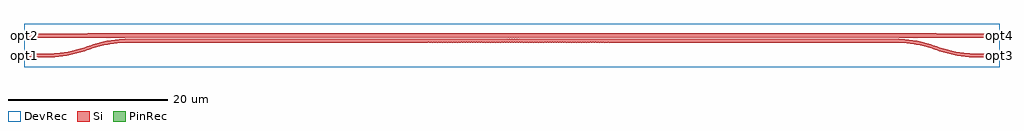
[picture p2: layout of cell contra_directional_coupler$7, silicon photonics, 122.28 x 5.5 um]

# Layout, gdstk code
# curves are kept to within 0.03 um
import gdstk
lib = gdstk.Library(unit=1e-6, precision=1e-09)
def R(c, l, rs):  # rectangles x0, y0, x1, y1
    for r in rs: c.add(gdstk.rectangle(r[:2], r[2:], *l))
def A(c, l, x, y, w, h, nx, ny, dx, dy):  # array of equal rectangles
    R(c, l, [(x+i*dx, y+j*dy, x+i*dx+w, y+j*dy+h) for i in range(nx) for j in range(ny)])
def P(c, l, *ps):  # polygons
    for p in ps: c.add(gdstk.Polygon(p, *l))
Si = (1, 0)
PinRec = (1, 10)
DevRec = (68, 0)

contra_directional_coupl = lib.new_cell('contra_directional_coupler$7')
A(contra_directional_coupl, Si, 0.158, -0.525, 0.317, 0.225, 111, 1, 0.317, 0)
A(contra_directional_coupl, Si, 60.388, -0.525, 0.317, 0.225, 110, 1, 0.317, 0)
A(contra_directional_coupl, Si, 0, -0.3, 0.317, 0.225, 111, 1, 0.317, 0)
A(contra_directional_coupl, Si, 60.23, -0.3, 0.317, 0.225, 110, 1, 0.317, 0)
A(contra_directional_coupl, Si, 0, 0.075, 0.317, 0.275, 110, 1, 0.317, 0)
A(contra_directional_coupl, Si, 60.547, 0.075, 0.317, 0.275, 109, 1, 0.317, 0)
A(contra_directional_coupl, Si, 0.158, 0.35, 0.317, 0.275, 110, 1, 0.317, 0)
A(contra_directional_coupl, Si, 60.705, 0.35, 0.317, 0.275, 109, 1, 0.317, 0)
R(contra_directional_coupl, Si, [(0,-0.525,0.158,-0.3), (95.1,-0.3,95.258,-0.075), (-5.5,0.075,0,0.625), (95.1,0.075,95.258,0.35), (95.258,0.075,100.758,0.625), (0,0.35,0.158,0.625)])
P(contra_directional_coupl, Si, [(47.462,-0.54),(47.391,-0.525),(47.391,-0.3),(47.708,-0.3),(47.708,-0.525),(47.621,-0.51)],
  [(47.55,-0.3),(47.55,-0.075),(47.621,-0.06),(47.78,-0.09),(47.867,-0.075),(47.867,-0.3)],
  [(47.391,0.35),(47.391,0.625),(47.462,0.645),(47.621,0.605),(47.708,0.625),(47.708,0.35)],
  [(47.621,0.055),(47.55,0.075),(47.55,0.35),(47.867,0.35),(47.867,0.075),(47.78,0.095)],
  [(105.944,-2.375),(104.411,-2.298),(102.894,-2.066),(101.652,-1.758),(99.498,-1.056),(98.044,-0.733),(96.565,-0.558),(95.258,-0.525),(95.258,-0.075),(96.595,-0.109),(98.119,-0.29),(99.618,-0.622),(101.779,-1.326),(102.984,-1.625),(104.704,-1.873),(106.258,-1.925),(106.258,-2.375)],
  [(108.758,-2.4),(106.258,-2.375),(106.258,-1.925),(108.758,-1.9)],
  [(100.758,0.075),(100.758,0.625),(108.758,0.6),(108.758,0.1)],
  [(55.07,-0.53),(54.999,-0.525),(54.999,-0.3),(55.316,-0.3),(55.316,-0.525)],
  [(55.158,-0.3),(55.158,-0.075),(55.475,-0.075),(55.475,-0.3)],
  [(54.999,0.35),(54.999,0.625),(55.316,0.625),(55.316,0.35)],
  [(55.237,0.069),(55.158,0.075),(55.158,0.35),(55.475,0.35),(55.475,0.075)],
  [(60.142,-0.526),(60.134,-0.525),(60.071,-0.525),(60.071,-0.3),(60.388,-0.3),(60.388,-0.525),(60.325,-0.525),(60.317,-0.524),(60.301,-0.524),(60.293,-0.525),(60.166,-0.525),(60.158,-0.526)],
  [(59.477,-0.526),(59.469,-0.525),(59.437,-0.525),(59.437,-0.3),(59.754,-0.3),(59.754,-0.525),(59.722,-0.525),(59.714,-0.524),(59.635,-0.524),(59.627,-0.525),(59.564,-0.525),(59.556,-0.526)],
  [(59.596,-0.3),(59.596,-0.075),(59.644,-0.075),(59.651,-0.074),(59.699,-0.074),(59.707,-0.075),(59.802,-0.075),(59.81,-0.076),(59.858,-0.076),(59.865,-0.075),(59.913,-0.075),(59.913,-0.3)],
  [(55.371,-0.529),(55.316,-0.525),(55.316,-0.3),(55.633,-0.3),(55.633,-0.525)],
  [(55.475,-0.3),(55.475,-0.075),(55.792,-0.075),(55.792,-0.3)],
  [(55.696,-0.529),(55.633,-0.525),(55.633,-0.3),(55.95,-0.3),(55.95,-0.525)],
  [(55.792,-0.3),(55.792,-0.075),(56.109,-0.075),(56.109,-0.3)],
  [(59.809,-0.526),(59.802,-0.525),(59.754,-0.525),(59.754,-0.3),(60.071,-0.3),(60.071,-0.525),(60.023,-0.525),(60.016,-0.524),(59.968,-0.524),(59.96,-0.525),(59.865,-0.525),(59.857,-0.526)],
  [(59.913,-0.3),(59.913,-0.075),(59.976,-0.075),(59.984,-0.074),(60,-0.074),(60.008,-0.075),(60.135,-0.075),(60.143,-0.076),(60.159,-0.076),(60.167,-0.075),(60.23,-0.075),(60.23,-0.3)],
  [(55.316,0.35),(55.316,0.625),(55.633,0.625),(55.633,0.35)],
  [(55.538,0.07),(55.475,0.075),(55.475,0.35),(55.792,0.35),(55.792,0.075)],
  [(55.633,0.35),(55.633,0.625),(55.95,0.625),(55.95,0.35)],
  [(55.84,0.071),(55.792,0.075),(55.792,0.35),(56.109,0.35),(56.109,0.075)],
  [(55.95,0.35),(55.95,0.625),(56.267,0.625),(56.267,0.35)],
  [(56.164,0.071),(56.109,0.075),(56.109,0.35),(56.426,0.35),(56.426,0.075)],
  [(56.267,0.35),(56.267,0.625),(56.584,0.625),(56.584,0.35)],
  [(56.505,0.071),(56.426,0.075),(56.426,0.35),(56.743,0.35),(56.743,0.075)],
  [(56.584,0.35),(56.584,0.625),(56.901,0.625),(56.901,0.35)],
  [(56.798,0.072),(56.743,0.075),(56.743,0.35),(57.06,0.35),(57.06,0.075)],
  [(56.901,0.35),(56.901,0.625),(57.218,0.625),(57.218,0.35)],
  [(57.123,0.072),(57.06,0.075),(57.06,0.35),(57.377,0.35),(57.377,0.075)],
  [(57.218,0.35),(57.218,0.625),(57.535,0.625),(57.535,0.35)],
  [(57.417,0.073),(57.377,0.075),(57.377,0.35),(57.694,0.35),(57.694,0.075)],
  [(57.535,0.35),(57.535,0.625),(57.852,0.625),(57.852,0.35)],
  [(57.742,0.073),(57.694,0.075),(57.694,0.35),(58.011,0.35),(58.011,0.075)],
  [(57.852,0.35),(57.852,0.625),(58.169,0.625),(58.169,0.35)],
  [(58.066,0.073),(58.011,0.075),(58.011,0.35),(58.328,0.35),(58.328,0.075)],
  [(58.169,0.35),(58.169,0.625),(58.486,0.625),(58.486,0.35)],
  [(58.399,0.073),(58.328,0.075),(58.328,0.35),(58.645,0.35),(58.645,0.075)],
  [(58.486,0.35),(58.486,0.625),(58.803,0.625),(58.803,0.35)],
  [(58.669,0.074),(58.661,0.075),(58.645,0.075),(58.645,0.35),(58.962,0.35),(58.962,0.075),(58.946,0.075),(58.938,0.076),(58.827,0.076),(58.819,0.075),(58.788,0.075),(58.78,0.074)],
  [(58.803,0.35),(58.803,0.625),(58.819,0.625),(58.827,0.626),(58.938,0.626),(58.946,0.625),(58.977,0.625),(58.985,0.624),(59.096,0.624),(59.104,0.625),(59.12,0.625),(59.12,0.35)],
  [(58.986,0.074),(58.978,0.075),(58.962,0.075),(58.962,0.35),(59.279,0.35),(59.279,0.075),(59.263,0.075),(59.255,0.076),(59.144,0.076),(59.136,0.075),(59.105,0.075),(59.097,0.074)],
  [(59.12,0.35),(59.12,0.625),(59.136,0.625),(59.144,0.626),(59.255,0.626),(59.263,0.625),(59.294,0.625),(59.302,0.624),(59.413,0.624),(59.421,0.625),(59.437,0.625),(59.437,0.35)],
  [(59.311,0.074),(59.303,0.075),(59.279,0.075),(59.279,0.35),(59.596,0.35),(59.596,0.075),(59.572,0.075),(59.564,0.076),(59.469,0.076),(59.461,0.075),(59.414,0.075),(59.406,0.074)],
  [(59.437,0.35),(59.437,0.625),(59.461,0.625),(59.469,0.626),(59.564,0.626),(59.572,0.625),(59.619,0.625),(59.627,0.624),(59.722,0.624),(59.73,0.625),(59.754,0.625),(59.754,0.35)],
  [(59.636,0.074),(59.628,0.075),(59.596,0.075),(59.596,0.35),(59.913,0.35),(59.913,0.075),(59.881,0.075),(59.873,0.076),(59.794,0.076),(59.786,0.075),(59.723,0.075),(59.715,0.074)],
  [(59.754,0.35),(59.754,0.625),(59.786,0.625),(59.794,0.626),(59.873,0.626),(59.881,0.625),(59.944,0.625),(59.952,0.624),(60.031,0.624),(60.039,0.625),(60.071,0.625),(60.071,0.35)],
  [(59.961,0.074),(59.953,0.075),(59.913,0.075),(59.913,0.35),(60.23,0.35),(60.23,0.075),(60.19,0.075),(60.182,0.076),(60.119,0.076),(60.111,0.075),(60.032,0.075),(60.024,0.074)],
  [(60.071,0.35),(60.071,0.625),(60.111,0.625),(60.119,0.626),(60.182,0.626),(60.19,0.625),(60.269,0.625),(60.277,0.624),(60.34,0.624),(60.348,0.625),(60.388,0.625),(60.388,0.35)],
  [(60.285,0.074),(60.278,0.075),(60.23,0.075),(60.23,0.35),(60.547,0.35),(60.547,0.075),(60.499,0.075),(60.492,0.076),(60.444,0.076),(60.436,0.075),(60.341,0.075),(60.333,0.074)],
  [(60.388,0.35),(60.388,0.625),(60.436,0.625),(60.443,0.626),(60.491,0.626),(60.499,0.625),(60.594,0.625),(60.602,0.624),(60.65,0.624),(60.657,0.625),(60.705,0.625),(60.705,0.35)],
  [(55.998,-0.528),(55.95,-0.525),(55.95,-0.3),(56.267,-0.3),(56.267,-0.525)],
  [(56.109,-0.3),(56.109,-0.075),(56.426,-0.075),(56.426,-0.3)],
  [(56.322,-0.528),(56.267,-0.525),(56.267,-0.3),(56.584,-0.3),(56.584,-0.525)],
  [(56.426,-0.3),(56.426,-0.075),(56.743,-0.075),(56.743,-0.3)],
  [(56.655,-0.528),(56.584,-0.525),(56.584,-0.3),(56.901,-0.3),(56.901,-0.525)],
  [(56.743,-0.3),(56.743,-0.075),(57.06,-0.075),(57.06,-0.3)],
  [(56.941,-0.527),(56.901,-0.525),(56.901,-0.3),(57.218,-0.3),(57.218,-0.525)],
  [(57.06,-0.3),(57.06,-0.075),(57.377,-0.075),(57.377,-0.3)],
  [(57.266,-0.527),(57.218,-0.525),(57.218,-0.3),(57.535,-0.3),(57.535,-0.525)],
  [(57.377,-0.3),(57.377,-0.075),(57.694,-0.075),(57.694,-0.3)],
  [(57.59,-0.527),(57.535,-0.525),(57.535,-0.3),(57.852,-0.3),(57.852,-0.525)],
  [(57.694,-0.3),(57.694,-0.075),(58.011,-0.075),(58.011,-0.3)],
  [(57.923,-0.527),(57.852,-0.525),(57.852,-0.3),(58.169,-0.3),(58.169,-0.525)],
  [(58.011,-0.3),(58.011,-0.075),(58.027,-0.075),(58.035,-0.074),(58.146,-0.074),(58.154,-0.075),(58.185,-0.075),(58.193,-0.076),(58.304,-0.076),(58.312,-0.075),(58.328,-0.075),(58.328,-0.3)],
  [(58.193,-0.526),(58.185,-0.525),(58.169,-0.525),(58.169,-0.3),(58.486,-0.3),(58.486,-0.525),(58.47,-0.525),(58.462,-0.524),(58.351,-0.524),(58.343,-0.525),(58.312,-0.525),(58.304,-0.526)],
  [(58.328,-0.3),(58.328,-0.075),(58.344,-0.075),(58.352,-0.074),(58.463,-0.074),(58.471,-0.075),(58.502,-0.075),(58.51,-0.076),(58.621,-0.076),(58.629,-0.075),(58.645,-0.075),(58.645,-0.3)],
  [(58.51,-0.526),(58.502,-0.525),(58.486,-0.525),(58.486,-0.3),(58.803,-0.3),(58.803,-0.525),(58.787,-0.525),(58.779,-0.524),(58.668,-0.524),(58.66,-0.525),(58.629,-0.525),(58.621,-0.526)],
  [(58.645,-0.3),(58.645,-0.075),(58.669,-0.075),(58.677,-0.074),(58.772,-0.074),(58.78,-0.075),(58.827,-0.075),(58.835,-0.076),(58.93,-0.076),(58.938,-0.075),(58.962,-0.075),(58.962,-0.3)],
  [(58.835,-0.526),(58.827,-0.525),(58.803,-0.525),(58.803,-0.3),(59.12,-0.3),(59.12,-0.525),(59.096,-0.525),(59.088,-0.524),(58.993,-0.524),(58.985,-0.525),(58.938,-0.525),(58.93,-0.526)],
  [(58.962,-0.3),(58.962,-0.075),(58.994,-0.075),(59.002,-0.074),(59.081,-0.074),(59.089,-0.075),(59.152,-0.075),(59.16,-0.076),(59.239,-0.076),(59.247,-0.075),(59.279,-0.075),(59.279,-0.3)],
  [(59.16,-0.526),(59.152,-0.525),(59.12,-0.525),(59.12,-0.3),(59.437,-0.3),(59.437,-0.525),(59.405,-0.525),(59.397,-0.524),(59.318,-0.524),(59.31,-0.525),(59.247,-0.525),(59.239,-0.526)],
  [(59.279,-0.3),(59.279,-0.075),(59.311,-0.075),(59.319,-0.074),(59.398,-0.074),(59.406,-0.075),(59.469,-0.075),(59.477,-0.076),(59.556,-0.076),(59.564,-0.075),(59.596,-0.075),(59.596,-0.3)],
  [(47.779,-0.54),(47.708,-0.525),(47.708,-0.3),(48.025,-0.3),(48.025,-0.525),(47.938,-0.51)],
  [(47.867,-0.3),(47.867,-0.075),(47.938,-0.06),(48.097,-0.09),(48.184,-0.075),(48.184,-0.3)],
  [(47.708,0.35),(47.708,0.625),(47.779,0.645),(47.938,0.605),(48.025,0.625),(48.025,0.35)],
  [(47.938,0.055),(47.867,0.075),(47.867,0.35),(48.184,0.35),(48.184,0.075),(48.097,0.095)],
  [(48.025,0.35),(48.025,0.625),(48.096,0.645),(48.255,0.605),(48.342,0.625),(48.342,0.35)],
  [(48.255,0.055),(48.184,0.075),(48.184,0.35),(48.501,0.35),(48.501,0.075),(48.414,0.095)],
  [(48.342,0.35),(48.342,0.625),(48.413,0.645),(48.572,0.605),(48.659,0.625),(48.659,0.35)],
  [(48.58,0.055),(48.501,0.075),(48.501,0.35),(48.818,0.35),(48.818,0.075),(48.723,0.094)],
  [(48.659,0.35),(48.659,0.625),(48.738,0.645),(48.881,0.606),(48.976,0.625),(48.976,0.35)],
  [(48.889,0.056),(48.818,0.075),(48.818,0.35),(49.135,0.35),(49.135,0.075),(49.048,0.094)],
  [(48.976,0.35),(48.976,0.625),(49.047,0.644),(49.206,0.606),(49.293,0.625),(49.293,0.35)],
  [(49.206,0.056),(49.135,0.075),(49.135,0.35),(49.452,0.35),(49.452,0.075),(49.365,0.094)],
  [(49.293,0.35),(49.293,0.625),(49.364,0.644),(49.523,0.606),(49.61,0.625),(49.61,0.35)],
  [(49.515,0.057),(49.452,0.075),(49.452,0.35),(49.769,0.35),(49.769,0.075),(49.674,0.093)],
  [(49.61,0.35),(49.61,0.625),(49.673,0.643),(49.832,0.607),(49.927,0.625),(49.927,0.35)],
  [(49.84,0.057),(49.769,0.075),(49.769,0.35),(50.086,0.35),(50.086,0.075),(49.999,0.093)],
  [(49.927,0.35),(49.927,0.625),(49.998,0.643),(50.157,0.607),(50.244,0.625),(50.244,0.35)],
  [(50.157,0.058),(50.086,0.075),(50.086,0.35),(50.403,0.35),(50.403,0.075),(50.316,0.092)],
  [(50.244,0.35),(50.244,0.625),(50.315,0.642),(50.474,0.608),(50.561,0.625),(50.561,0.35)],
  [(50.482,0.058),(50.403,0.075),(50.403,0.35),(50.72,0.35),(50.72,0.075),(50.625,0.091)],
  [(50.561,0.35),(50.561,0.625),(50.64,0.642),(50.783,0.609),(50.878,0.625),(50.878,0.35)],
  [(50.791,0.059),(50.72,0.075),(50.72,0.35),(51.037,0.35),(51.037,0.075),(50.95,0.091)],
  [(50.878,0.35),(50.878,0.625),(50.949,0.641),(51.108,0.609),(51.195,0.625),(51.195,0.35)],
  [(51.1,0.06),(51.037,0.075),(51.037,0.35),(51.354,0.35),(51.354,0.075),(51.259,0.09)],
  [(51.195,0.35),(51.195,0.625),(51.258,0.64),(51.417,0.61),(51.512,0.625),(51.512,0.35)],
  [(51.433,0.06),(51.354,0.075),(51.354,0.35),(51.671,0.35),(51.671,0.075),(51.576,0.089)],
  [(51.512,0.35),(51.512,0.625),(51.591,0.64),(51.734,0.611),(51.829,0.625),(51.829,0.35)],
  [(51.742,0.061),(51.671,0.075),(51.671,0.35),(51.988,0.35),(51.988,0.075),(51.901,0.089)],
  [(51.829,0.35),(51.829,0.625),(52.146,0.625),(52.146,0.35)],
  [(52.059,0.062),(51.988,0.075),(51.988,0.35),(52.305,0.35),(52.305,0.075),(52.218,0.088)],
  [(52.146,0.35),(52.146,0.625),(52.463,0.625),(52.463,0.35)],
  [(52.368,0.063),(52.305,0.075),(52.305,0.35),(52.622,0.35),(52.622,0.075),(52.527,0.087)],
  [(52.463,0.35),(52.463,0.625),(52.78,0.625),(52.78,0.35)],
  [(52.685,0.064),(52.622,0.075),(52.622,0.35),(52.939,0.35),(52.939,0.075),(52.844,0.086)],
  [(52.78,0.35),(52.78,0.625),(53.097,0.625),(53.097,0.35)],
  [(53.018,0.064),(52.939,0.075),(52.939,0.35),(53.256,0.35),(53.256,0.075)],
  [(53.097,0.35),(53.097,0.625),(53.414,0.625),(53.414,0.35)],
  [(53.327,0.065),(53.256,0.075),(53.256,0.35),(53.573,0.35),(53.573,0.075)],
  [(53.414,0.35),(53.414,0.625),(53.731,0.625),(53.731,0.35)],
  [(53.636,0.066),(53.573,0.075),(53.573,0.35),(53.89,0.35),(53.89,0.075)],
  [(53.731,0.35),(53.731,0.625),(54.048,0.625),(54.048,0.35)],
  [(53.953,0.067),(53.89,0.075),(53.89,0.35),(54.207,0.35),(54.207,0.075)],
  [(54.048,0.35),(54.048,0.625),(54.365,0.625),(54.365,0.35)],
  [(54.286,0.067),(54.207,0.075),(54.207,0.35),(54.524,0.35),(54.524,0.075)],
  [(54.365,0.35),(54.365,0.625),(54.682,0.625),(54.682,0.35)],
  [(54.595,0.068),(54.524,0.075),(54.524,0.35),(54.841,0.35),(54.841,0.075)],
  [(54.682,0.35),(54.682,0.625),(54.999,0.625),(54.999,0.35)],
  [(54.896,0.069),(54.841,0.075),(54.841,0.35),(55.158,0.35),(55.158,0.075)],
  [(54.207,-0.3),(54.207,-0.075),(54.524,-0.075),(54.524,-0.3)],
  [(54.436,-0.531),(54.365,-0.525),(54.365,-0.3),(54.682,-0.3),(54.682,-0.525)],
  [(54.524,-0.3),(54.524,-0.075),(54.841,-0.075),(54.841,-0.3)],
  [(54.737,-0.53),(54.682,-0.525),(54.682,-0.3),(54.999,-0.3),(54.999,-0.525)],
  [(54.841,-0.3),(54.841,-0.075),(55.158,-0.075),(55.158,-0.3)],
  [(53.256,-0.3),(53.256,-0.075),(53.304,-0.069),(53.311,-0.068),(53.359,-0.068),(53.407,-0.074),(53.414,-0.075),(53.47,-0.082),(53.518,-0.082),(53.525,-0.081),(53.573,-0.075),(53.573,-0.3)],
  [(53.469,-0.532),(53.462,-0.531),(53.414,-0.525),(53.414,-0.3),(53.731,-0.3),(53.731,-0.525),(53.683,-0.519),(53.676,-0.518),(53.628,-0.518),(53.572,-0.525),(53.565,-0.526),(53.517,-0.532)],
  [(53.573,-0.3),(53.573,-0.075),(53.89,-0.075),(53.89,-0.3)],
  [(53.802,-0.532),(53.731,-0.525),(53.731,-0.3),(54.048,-0.3),(54.048,-0.525)],
  [(53.89,-0.3),(53.89,-0.075),(54.207,-0.075),(54.207,-0.3)],
  [(54.111,-0.531),(54.048,-0.525),(54.048,-0.3),(54.365,-0.3),(54.365,-0.525)],
  [(48.096,-0.54),(48.025,-0.525),(48.025,-0.3),(48.342,-0.3),(48.342,-0.525),(48.255,-0.51)],
  [(48.184,-0.3),(48.184,-0.075),(48.255,-0.06),(48.414,-0.09),(48.501,-0.075),(48.501,-0.3)],
  [(48.413,-0.54),(48.342,-0.525),(48.342,-0.3),(48.659,-0.3),(48.659,-0.525),(48.572,-0.51)],
  [(48.501,-0.3),(48.501,-0.075),(48.572,-0.06),(48.731,-0.09),(48.818,-0.075),(48.818,-0.3)],
  [(48.73,-0.54),(48.659,-0.525),(48.659,-0.3),(48.976,-0.3),(48.976,-0.525),(48.889,-0.51)],
  [(48.818,-0.3),(48.818,-0.075),(48.881,-0.061),(49.04,-0.089),(49.135,-0.075),(49.135,-0.3)],
  [(49.039,-0.539),(48.976,-0.525),(48.976,-0.3),(49.293,-0.3),(49.293,-0.525),(49.198,-0.511)],
  [(49.135,-0.3),(49.135,-0.075),(49.206,-0.061),(49.365,-0.089),(49.452,-0.075),(49.452,-0.3)],
  [(49.364,-0.539),(49.293,-0.525),(49.293,-0.3),(49.61,-0.3),(49.61,-0.525),(49.523,-0.511)],
  [(49.452,-0.3),(49.452,-0.075),(49.523,-0.061),(49.682,-0.089),(49.769,-0.075),(49.769,-0.3)],
  [(49.681,-0.539),(49.61,-0.525),(49.61,-0.3),(49.927,-0.3),(49.927,-0.525),(49.84,-0.511)],
  [(49.769,-0.3),(49.769,-0.075),(50.086,-0.075),(50.086,-0.3)],
  [(49.99,-0.538),(49.927,-0.525),(49.927,-0.3),(50.244,-0.3),(50.244,-0.525),(50.149,-0.512)],
  [(50.086,-0.3),(50.086,-0.075),(50.403,-0.075),(50.403,-0.3)],
  [(50.315,-0.538),(50.244,-0.525),(50.244,-0.3),(50.561,-0.3),(50.561,-0.525),(50.474,-0.512)],
  [(50.403,-0.3),(50.403,-0.075),(50.72,-0.075),(50.72,-0.3)],
  [(50.64,-0.538),(50.561,-0.525),(50.561,-0.3),(50.878,-0.3),(50.878,-0.525),(50.799,-0.512)],
  [(50.72,-0.3),(50.72,-0.075),(51.037,-0.075),(51.037,-0.3)],
  [(50.949,-0.537),(50.878,-0.525),(50.878,-0.3),(51.195,-0.3),(51.195,-0.525),(51.108,-0.513)],
  [(51.037,-0.3),(51.037,-0.075),(51.354,-0.075),(51.354,-0.3)],
  [(51.258,-0.536),(51.195,-0.525),(51.195,-0.3),(51.512,-0.3),(51.512,-0.525),(51.417,-0.514)],
  [(51.354,-0.3),(51.354,-0.075),(51.671,-0.075),(51.671,-0.3)],
  [(51.583,-0.536),(51.512,-0.525),(51.512,-0.3),(51.829,-0.3),(51.829,-0.525),(51.742,-0.514)],
  [(51.671,-0.3),(51.671,-0.075),(51.988,-0.075),(51.988,-0.3)],
  [(51.892,-0.535),(51.829,-0.525),(51.829,-0.3),(52.146,-0.3),(52.146,-0.525),(52.051,-0.515)],
  [(51.988,-0.3),(51.988,-0.075),(52.305,-0.075),(52.305,-0.3)],
  [(52.217,-0.535),(52.146,-0.525),(52.146,-0.3),(52.463,-0.3),(52.463,-0.525),(52.376,-0.515)],
  [(52.305,-0.3),(52.305,-0.075),(52.622,-0.075),(52.622,-0.3)],
  [(52.526,-0.534),(52.463,-0.525),(52.463,-0.3),(52.78,-0.3),(52.78,-0.525)],
  [(52.622,-0.3),(52.622,-0.075),(52.939,-0.075),(52.939,-0.3)],
  [(52.835,-0.533),(52.78,-0.525),(52.78,-0.3),(53.097,-0.3),(53.097,-0.525)],
  [(52.939,-0.3),(52.939,-0.075),(53.256,-0.075),(53.256,-0.3)],
  [(53.16,-0.533),(53.097,-0.525),(53.097,-0.3),(53.414,-0.3),(53.414,-0.525)],
  [(39.783,0.35),(39.783,0.625),(40.1,0.625),(40.1,0.35)],
  [(40.021,0.069),(39.942,0.075),(39.942,0.35),(40.259,0.35),(40.259,0.075)],
  [(39.846,-0.529),(39.783,-0.525),(39.783,-0.3),(40.1,-0.3),(40.1,-0.525)],
  [(39.942,-0.3),(39.942,-0.075),(40.259,-0.075),(40.259,-0.3)],
  [(40.417,0.35),(40.417,0.625),(40.734,0.625),(40.734,0.35)],
  [(40.647,0.068),(40.576,0.075),(40.576,0.35),(40.893,0.35),(40.893,0.075)],
  [(40.734,0.35),(40.734,0.625),(41.051,0.625),(41.051,0.35)],
  [(40.972,0.067),(40.893,0.075),(40.893,0.35),(41.21,0.35),(41.21,0.075)],
  [(41.051,0.35),(41.051,0.625),(41.368,0.625),(41.368,0.35)],
  [(41.273,0.067),(41.21,0.075),(41.21,0.35),(41.527,0.35),(41.527,0.075)],
  [(41.368,0.35),(41.368,0.625),(41.685,0.625),(41.685,0.35)],
  [(41.59,0.066),(41.527,0.075),(41.527,0.35),(41.844,0.35),(41.844,0.075)],
  [(41.685,0.35),(41.685,0.625),(42.002,0.625),(42.002,0.35)],
  [(41.915,0.065),(41.844,0.075),(41.844,0.35),(42.161,0.35),(42.161,0.075)],
  [(42.002,0.35),(42.002,0.625),(42.319,0.625),(42.319,0.35)],
  [(42.24,0.064),(42.161,0.075),(42.161,0.35),(42.478,0.35),(42.478,0.075)],
  [(42.319,0.35),(42.319,0.625),(42.636,0.625),(42.636,0.35)],
  [(42.541,0.064),(42.478,0.075),(42.478,0.35),(42.795,0.35),(42.795,0.075),(42.7,0.086)],
  [(42.636,0.35),(42.636,0.625),(42.953,0.625),(42.953,0.35)],
  [(42.858,0.063),(42.795,0.075),(42.795,0.35),(43.112,0.35),(43.112,0.075),(43.017,0.087)],
  [(42.953,0.35),(42.953,0.625),(43.27,0.625),(43.27,0.35)],
  [(43.183,0.062),(43.112,0.075),(43.112,0.35),(43.429,0.35),(43.429,0.075),(43.342,0.088)],
  [(43.27,0.35),(43.27,0.625),(43.587,0.625),(43.587,0.35)],
  [(43.5,0.061),(43.429,0.075),(43.429,0.35),(43.746,0.35),(43.746,0.075),(43.659,0.089)],
  [(43.587,0.35),(43.587,0.625),(43.904,0.625),(43.904,0.35)],
  [(43.825,0.06),(43.746,0.075),(43.746,0.35),(44.063,0.35),(44.063,0.075),(43.968,0.089)],
  [(43.904,0.35),(43.904,0.625),(43.983,0.64),(44.126,0.611),(44.221,0.625),(44.221,0.35)],
  [(44.126,0.06),(44.063,0.075),(44.063,0.35),(44.38,0.35),(44.38,0.075),(44.285,0.09)],
  [(44.221,0.35),(44.221,0.625),(44.284,0.64),(44.443,0.61),(44.538,0.625),(44.538,0.35)],
  [(44.451,0.059),(44.38,0.075),(44.38,0.35),(44.697,0.35),(44.697,0.075),(44.61,0.091)],
  [(44.538,0.35),(44.538,0.625),(44.609,0.641),(44.768,0.609),(44.855,0.625),(44.855,0.35)],
  [(44.776,0.058),(44.697,0.075),(44.697,0.35),(45.014,0.35),(45.014,0.075),(44.919,0.091)],
  [(44.855,0.35),(44.855,0.625),(44.934,0.642),(45.077,0.609),(45.172,0.625),(45.172,0.35)],
  [(45.085,0.058),(45.014,0.075),(45.014,0.35),(45.331,0.35),(45.331,0.075),(45.244,0.092)],
  [(45.172,0.35),(45.172,0.625),(45.243,0.642),(45.402,0.608),(45.489,0.625),(45.489,0.35)],
  [(45.402,0.057),(45.331,0.075),(45.331,0.35),(45.648,0.35),(45.648,0.075),(45.561,0.093)],
  [(45.489,0.35),(45.489,0.625),(45.56,0.643),(45.719,0.607),(45.806,0.625),(45.806,0.35)],
  [(45.711,0.057),(45.648,0.075),(45.648,0.35),(45.965,0.35),(45.965,0.075),(45.87,0.093)],
  [(45.806,0.35),(45.806,0.625),(45.869,0.643),(46.028,0.607),(46.123,0.625),(46.123,0.35)],
  [(46.036,0.056),(45.965,0.075),(45.965,0.35),(46.282,0.35),(46.282,0.075),(46.195,0.094)],
  [(46.123,0.35),(46.123,0.625),(46.194,0.644),(46.353,0.606),(46.44,0.625),(46.44,0.35)],
  [(46.353,0.056),(46.282,0.075),(46.282,0.35),(46.599,0.35),(46.599,0.075),(46.512,0.094)],
  [(46.44,0.35),(46.44,0.625),(46.511,0.644),(46.67,0.606),(46.757,0.625),(46.757,0.35)],
  [(46.678,0.055),(46.599,0.075),(46.599,0.35),(46.916,0.35),(46.916,0.075),(46.821,0.094)],
  [(46.757,0.35),(46.757,0.625),(46.836,0.645),(46.979,0.606),(47.074,0.625),(47.074,0.35)],
  [(46.987,0.055),(46.916,0.075),(46.916,0.35),(47.233,0.35),(47.233,0.075),(47.146,0.095)],
  [(47.074,0.35),(47.074,0.625),(47.145,0.645),(47.304,0.605),(47.391,0.625),(47.391,0.35)],
  [(47.304,0.055),(47.233,0.075),(47.233,0.35),(47.55,0.35),(47.55,0.075),(47.463,0.095)],
  [(40.1,0.35),(40.1,0.625),(40.417,0.625),(40.417,0.35)],
  [(40.314,0.069),(40.259,0.075),(40.259,0.35),(40.576,0.35),(40.576,0.075)],
  [(40.155,-0.529),(40.1,-0.525),(40.1,-0.3),(40.417,-0.3),(40.417,-0.525)],
  [(40.259,-0.3),(40.259,-0.075),(40.576,-0.075),(40.576,-0.3)],
  [(40.488,-0.53),(40.417,-0.525),(40.417,-0.3),(40.734,-0.3),(40.734,-0.525)],
  [(40.576,-0.3),(40.576,-0.075),(40.893,-0.075),(40.893,-0.3)],
  [(40.789,-0.53),(40.734,-0.525),(40.734,-0.3),(41.051,-0.3),(41.051,-0.525)],
  [(40.893,-0.3),(40.893,-0.075),(41.21,-0.075),(41.21,-0.3)],
  [(41.122,-0.531),(41.051,-0.525),(41.051,-0.3),(41.368,-0.3),(41.368,-0.525)],
  [(41.21,-0.3),(41.21,-0.075),(41.527,-0.075),(41.527,-0.3)],
  [(41.431,-0.531),(41.368,-0.525),(41.368,-0.3),(41.685,-0.3),(41.685,-0.525)],
  [(41.527,-0.3),(41.527,-0.075),(41.844,-0.075),(41.844,-0.3)],
  [(41.756,-0.532),(41.685,-0.525),(41.685,-0.3),(42.002,-0.3),(42.002,-0.525)],
  [(41.844,-0.3),(41.844,-0.075),(41.892,-0.069),(41.899,-0.068),(41.947,-0.068),(41.995,-0.074),(42.002,-0.075),(42.058,-0.082),(42.106,-0.082),(42.113,-0.081),(42.161,-0.075),(42.161,-0.3)],
  [(42.057,-0.532),(42.05,-0.531),(42.002,-0.525),(42.002,-0.3),(42.319,-0.3),(42.319,-0.525),(42.271,-0.519),(42.264,-0.518),(42.216,-0.518),(42.16,-0.525),(42.153,-0.526),(42.105,-0.532)],
  [(42.161,-0.3),(42.161,-0.075),(42.478,-0.075),(42.478,-0.3)],
  [(42.382,-0.533),(42.319,-0.525),(42.319,-0.3),(42.636,-0.3),(42.636,-0.525)],
  [(42.478,-0.3),(42.478,-0.075),(42.795,-0.075),(42.795,-0.3)],
  [(42.691,-0.533),(42.636,-0.525),(42.636,-0.3),(42.953,-0.3),(42.953,-0.525)],
  [(42.795,-0.3),(42.795,-0.075),(43.112,-0.075),(43.112,-0.3)],
  [(43.016,-0.534),(42.953,-0.525),(42.953,-0.3),(43.27,-0.3),(43.27,-0.525)],
  [(43.112,-0.3),(43.112,-0.075),(43.429,-0.075),(43.429,-0.3)],
  [(43.341,-0.535),(43.27,-0.525),(43.27,-0.3),(43.587,-0.3),(43.587,-0.525),(43.5,-0.515)],
  [(43.429,-0.3),(43.429,-0.075),(43.746,-0.075),(43.746,-0.3)],
  [(43.65,-0.535),(43.587,-0.525),(43.587,-0.3),(43.904,-0.3),(43.904,-0.525),(43.809,-0.515)],
  [(43.746,-0.3),(43.746,-0.075),(44.063,-0.075),(44.063,-0.3)],
  [(43.975,-0.536),(43.904,-0.525),(43.904,-0.3),(44.221,-0.3),(44.221,-0.525),(44.134,-0.514)],
  [(44.063,-0.3),(44.063,-0.075),(44.38,-0.075),(44.38,-0.3)],
  [(44.284,-0.536),(44.221,-0.525),(44.221,-0.3),(44.538,-0.3),(44.538,-0.525),(44.443,-0.514)],
  [(44.38,-0.3),(44.38,-0.075),(44.697,-0.075),(44.697,-0.3)],
  [(44.609,-0.537),(44.538,-0.525),(44.538,-0.3),(44.855,-0.3),(44.855,-0.525),(44.768,-0.513)],
  [(44.697,-0.3),(44.697,-0.075),(45.014,-0.075),(45.014,-0.3)],
  [(44.934,-0.538),(44.855,-0.525),(44.855,-0.3),(45.172,-0.3),(45.172,-0.525),(45.093,-0.512)],
  [(45.014,-0.3),(45.014,-0.075),(45.331,-0.075),(45.331,-0.3)],
  [(45.243,-0.538),(45.172,-0.525),(45.172,-0.3),(45.489,-0.3),(45.489,-0.525),(45.402,-0.512)],
  [(45.331,-0.3),(45.331,-0.075),(45.648,-0.075),(45.648,-0.3)],
  [(45.552,-0.538),(45.489,-0.525),(45.489,-0.3),(45.806,-0.3),(45.806,-0.525),(45.711,-0.512)],
  [(45.648,-0.3),(45.648,-0.075),(45.719,-0.061),(45.878,-0.089),(45.965,-0.075),(45.965,-0.3)],
  [(45.877,-0.539),(45.806,-0.525),(45.806,-0.3),(46.123,-0.3),(46.123,-0.525),(46.036,-0.511)],
  [(45.965,-0.3),(45.965,-0.075),(46.036,-0.061),(46.195,-0.089),(46.282,-0.075),(46.282,-0.3)],
  [(46.194,-0.539),(46.123,-0.525),(46.123,-0.3),(46.44,-0.3),(46.44,-0.525),(46.353,-0.511)],
  [(46.282,-0.3),(46.282,-0.075),(46.345,-0.061),(46.504,-0.089),(46.599,-0.075),(46.599,-0.3)],
  [(46.503,-0.539),(46.44,-0.525),(46.44,-0.3),(46.757,-0.3),(46.757,-0.525),(46.662,-0.511)],
  [(46.599,-0.3),(46.599,-0.075),(46.67,-0.06),(46.829,-0.09),(46.916,-0.075),(46.916,-0.3)],
  [(46.828,-0.54),(46.757,-0.525),(46.757,-0.3),(47.074,-0.3),(47.074,-0.525),(46.987,-0.51)],
  [(46.916,-0.3),(46.916,-0.075),(46.987,-0.06),(47.146,-0.09),(47.233,-0.075),(47.233,-0.3)],
  [(47.145,-0.54),(47.074,-0.525),(47.074,-0.3),(47.391,-0.3),(47.391,-0.525),(47.304,-0.51)],
  [(47.233,-0.3),(47.233,-0.075),(47.304,-0.06),(47.463,-0.09),(47.55,-0.075),(47.55,-0.3)],
  [(35.187,-0.3),(35.187,-0.075),(35.25,-0.075),(35.258,-0.074),(35.274,-0.074),(35.282,-0.075),(35.409,-0.075),(35.417,-0.076),(35.433,-0.076),(35.441,-0.075),(35.504,-0.075),(35.504,-0.3)],
  [(35.416,-0.526),(35.408,-0.525),(35.345,-0.525),(35.345,-0.3),(35.662,-0.3),(35.662,-0.525),(35.599,-0.525),(35.591,-0.524),(35.575,-0.524),(35.567,-0.525),(35.44,-0.525),(35.432,-0.526)],
  [(35.504,-0.3),(35.504,-0.075),(35.552,-0.075),(35.559,-0.074),(35.607,-0.074),(35.615,-0.075),(35.71,-0.075),(35.718,-0.076),(35.766,-0.076),(35.773,-0.075),(35.821,-0.075),(35.821,-0.3)],
  [(35.717,-0.526),(35.71,-0.525),(35.662,-0.525),(35.662,-0.3),(35.979,-0.3),(35.979,-0.525),(35.931,-0.525),(35.924,-0.524),(35.876,-0.524),(35.868,-0.525),(35.773,-0.525),(35.765,-0.526)],
  [(35.821,-0.3),(35.821,-0.075),(35.853,-0.075),(35.861,-0.074),(35.94,-0.074),(35.948,-0.075),(36.011,-0.075),(36.019,-0.076),(36.098,-0.076),(36.106,-0.075),(36.138,-0.075),(36.138,-0.3)],
  [(36.019,-0.526),(36.011,-0.525),(35.979,-0.525),(35.979,-0.3),(36.296,-0.3),(36.296,-0.525),(36.264,-0.525),(36.256,-0.524),(36.177,-0.524),(36.169,-0.525),(36.106,-0.525),(36.098,-0.526)],
  [(36.138,-0.3),(36.138,-0.075),(36.17,-0.075),(36.178,-0.074),(36.257,-0.074),(36.265,-0.075),(36.328,-0.075),(36.336,-0.076),(36.415,-0.076),(36.423,-0.075),(36.455,-0.075),(36.455,-0.3)],
  [(36.336,-0.526),(36.328,-0.525),(36.296,-0.525),(36.296,-0.3),(36.613,-0.3),(36.613,-0.525),(36.581,-0.525),(36.573,-0.524),(36.494,-0.524),(36.486,-0.525),(36.423,-0.525),(36.415,-0.526)],
  [(36.455,-0.3),(36.455,-0.075),(36.479,-0.075),(36.487,-0.074),(36.582,-0.074),(36.59,-0.075),(36.637,-0.075),(36.645,-0.076),(36.74,-0.076),(36.748,-0.075),(36.772,-0.075),(36.772,-0.3)],
  [(36.645,-0.526),(36.637,-0.525),(36.613,-0.525),(36.613,-0.3),(36.93,-0.3),(36.93,-0.525),(36.906,-0.525),(36.898,-0.524),(36.803,-0.524),(36.795,-0.525),(36.748,-0.525),(36.74,-0.526)],
  [(36.772,-0.3),(36.772,-0.075),(36.788,-0.075),(36.796,-0.074),(36.907,-0.074),(36.915,-0.075),(36.946,-0.075),(36.954,-0.076),(37.065,-0.076),(37.073,-0.075),(37.089,-0.075),(37.089,-0.3)],
  [(36.954,-0.526),(36.946,-0.525),(36.93,-0.525),(36.93,-0.3),(37.247,-0.3),(37.247,-0.525),(37.231,-0.525),(37.223,-0.524),(37.112,-0.524),(37.104,-0.525),(37.073,-0.525),(37.065,-0.526)],
  [(37.089,-0.3),(37.089,-0.075),(37.105,-0.075),(37.113,-0.074),(37.224,-0.074),(37.232,-0.075),(37.263,-0.075),(37.271,-0.076),(37.382,-0.076),(37.39,-0.075),(37.406,-0.075),(37.406,-0.3)],
  [(37.271,-0.526),(37.263,-0.525),(37.247,-0.525),(37.247,-0.3),(37.564,-0.3),(37.564,-0.525),(37.548,-0.525),(37.54,-0.524),(37.429,-0.524),(37.421,-0.525),(37.39,-0.525),(37.382,-0.526)],
  [(37.406,-0.3),(37.406,-0.075),(37.723,-0.075),(37.723,-0.3)],
  [(37.635,-0.527),(37.564,-0.525),(37.564,-0.3),(37.881,-0.3),(37.881,-0.525)],
  [(37.723,-0.3),(37.723,-0.075),(38.04,-0.075),(38.04,-0.3)],
  [(37.936,-0.527),(37.881,-0.525),(37.881,-0.3),(38.198,-0.3),(38.198,-0.525)],
  [(38.04,-0.3),(38.04,-0.075),(38.357,-0.075),(38.357,-0.3)],
  [(38.246,-0.527),(38.198,-0.525),(38.198,-0.3),(38.515,-0.3),(38.515,-0.525)],
  [(38.357,-0.3),(38.357,-0.075),(38.674,-0.075),(38.674,-0.3)],
  [(38.555,-0.527),(38.515,-0.525),(38.515,-0.3),(38.832,-0.3),(38.832,-0.525)],
  [(38.674,-0.3),(38.674,-0.075),(38.991,-0.075),(38.991,-0.3)],
  [(38.903,-0.528),(38.832,-0.525),(38.832,-0.3),(39.149,-0.3),(39.149,-0.525)],
  [(38.991,-0.3),(38.991,-0.075),(39.308,-0.075),(39.308,-0.3)],
  [(39.204,-0.528),(39.149,-0.525),(39.149,-0.3),(39.466,-0.3),(39.466,-0.525)],
  [(39.308,-0.3),(39.308,-0.075),(39.625,-0.075),(39.625,-0.3)],
  [(39.514,-0.528),(39.466,-0.525),(39.466,-0.3),(39.783,-0.3),(39.783,-0.525)],
  [(39.625,-0.3),(39.625,-0.075),(39.942,-0.075),(39.942,-0.3)],
  [(34.925,0.074),(34.918,0.075),(34.87,0.075),(34.87,0.35),(35.187,0.35),(35.187,0.075),(35.139,0.075),(35.132,0.076),(35.084,0.076),(35.076,0.075),(34.981,0.075),(34.973,0.074)],
  [(35.028,0.35),(35.028,0.625),(35.076,0.625),(35.083,0.626),(35.131,0.626),(35.139,0.625),(35.234,0.625),(35.242,0.624),(35.29,0.624),(35.297,0.625),(35.345,0.625),(35.345,0.35)],
  [(35.235,0.074),(35.227,0.075),(35.187,0.075),(35.187,0.35),(35.504,0.35),(35.504,0.075),(35.464,0.075),(35.456,0.076),(35.393,0.076),(35.385,0.075),(35.306,0.075),(35.298,0.074)],
  [(35.345,0.35),(35.345,0.625),(35.385,0.625),(35.393,0.626),(35.456,0.626),(35.464,0.625),(35.543,0.625),(35.551,0.624),(35.614,0.624),(35.622,0.625),(35.662,0.625),(35.662,0.35)],
  [(35.544,0.074),(35.536,0.075),(35.504,0.075),(35.504,0.35),(35.821,0.35),(35.821,0.075),(35.789,0.075),(35.781,0.076),(35.702,0.076),(35.694,0.075),(35.631,0.075),(35.623,0.074)],
  [(35.662,0.35),(35.662,0.625),(35.694,0.625),(35.702,0.626),(35.781,0.626),(35.789,0.625),(35.852,0.625),(35.86,0.624),(35.939,0.624),(35.947,0.625),(35.979,0.625),(35.979,0.35)],
  [(35.853,0.074),(35.845,0.075),(35.821,0.075),(35.821,0.35),(36.138,0.35),(36.138,0.075),(36.114,0.075),(36.106,0.076),(36.011,0.076),(36.003,0.075),(35.956,0.075),(35.948,0.074)],
  [(35.979,0.35),(35.979,0.625),(36.003,0.625),(36.011,0.626),(36.106,0.626),(36.114,0.625),(36.161,0.625),(36.169,0.624),(36.264,0.624),(36.272,0.625),(36.296,0.625),(36.296,0.35)],
  [(36.162,0.074),(36.154,0.075),(36.138,0.075),(36.138,0.35),(36.455,0.35),(36.455,0.075),(36.439,0.075),(36.431,0.076),(36.32,0.076),(36.312,0.075),(36.281,0.075),(36.273,0.074)],
  [(36.296,0.35),(36.296,0.625),(36.312,0.625),(36.32,0.626),(36.431,0.626),(36.439,0.625),(36.47,0.625),(36.478,0.624),(36.589,0.624),(36.597,0.625),(36.613,0.625),(36.613,0.35)],
  [(36.479,0.074),(36.471,0.075),(36.455,0.075),(36.455,0.35),(36.772,0.35),(36.772,0.075),(36.756,0.075),(36.748,0.076),(36.637,0.076),(36.629,0.075),(36.598,0.075),(36.59,0.074)],
  [(36.613,0.35),(36.613,0.625),(36.629,0.625),(36.637,0.626),(36.748,0.626),(36.756,0.625),(36.787,0.625),(36.795,0.624),(36.906,0.624),(36.914,0.625),(36.93,0.625),(36.93,0.35)],
  [(36.843,0.073),(36.772,0.075),(36.772,0.35),(37.089,0.35),(37.089,0.075)],
  [(36.93,0.35),(36.93,0.625),(37.247,0.625),(37.247,0.35)],
  [(37.144,0.073),(37.089,0.075),(37.089,0.35),(37.406,0.35),(37.406,0.075)],
  [(37.247,0.35),(37.247,0.625),(37.564,0.625),(37.564,0.35)],
  [(37.454,0.073),(37.406,0.075),(37.406,0.35),(37.723,0.35),(37.723,0.075)],
  [(37.564,0.35),(37.564,0.625),(37.881,0.625),(37.881,0.35)],
  [(37.763,0.073),(37.723,0.075),(37.723,0.35),(38.04,0.35),(38.04,0.075)],
  [(37.881,0.35),(37.881,0.625),(38.198,0.625),(38.198,0.35)],
  [(38.103,0.072),(38.04,0.075),(38.04,0.35),(38.357,0.35),(38.357,0.075)],
  [(38.198,0.35),(38.198,0.625),(38.515,0.625),(38.515,0.35)],
  [(38.412,0.072),(38.357,0.075),(38.357,0.35),(38.674,0.35),(38.674,0.075)],
  [(38.515,0.35),(38.515,0.625),(38.832,0.625),(38.832,0.35)],
  [(38.753,0.071),(38.674,0.075),(38.674,0.35),(38.991,0.35),(38.991,0.075)],
  [(38.832,0.35),(38.832,0.625),(39.149,0.625),(39.149,0.35)],
  [(39.046,0.071),(38.991,0.075),(38.991,0.35),(39.308,0.35),(39.308,0.075)],
  [(39.149,0.35),(39.149,0.625),(39.466,0.625),(39.466,0.35)],
  [(39.356,0.071),(39.308,0.075),(39.308,0.35),(39.625,0.35),(39.625,0.075)],
  [(39.466,0.35),(39.466,0.625),(39.783,0.625),(39.783,0.35)],
  [(39.688,0.07),(39.625,0.075),(39.625,0.35),(39.942,0.35),(39.942,0.075)],
  [(-11,-2.375),(-11,-1.925),(-9.446,-1.873),(-7.726,-1.625),(-6.521,-1.326),(-4.36,-0.622),(-2.861,-0.29),(-1.337,-0.109),(0,-0.075),(0,-0.525),(-1.554,-0.577),(-3.274,-0.825),(-4.479,-1.124),(-6.64,-1.828),(-8.139,-2.16),(-9.663,-2.341)],
  [(-13.5,-2.4),(-13.5,-1.9),(-11,-1.925),(-11,-2.375)],
  [(-5.5,0.075),(-13.5,0.1),(-13.5,0.6),(-5.5,0.625)])
R(contra_directional_coupl, DevRec, [(-13.5,-3.65,108.758,1.85)])
contra_directional_coupl.add(gdstk.FlexPath([(-13.49,-2.15),(-13.51,-2.15)], 0.5, ends="flush", simple_path=True, layer=1, datatype=10))  # PinRec
contra_directional_coupl.add(gdstk.FlexPath([(-13.49,0.35),(-13.51,0.35)], 0.5, ends="flush", simple_path=True, layer=1, datatype=10))  # PinRec
contra_directional_coupl.add(gdstk.FlexPath([(108.748,-2.15),(108.768,-2.15)], 0.5, ends="flush", simple_path=True, layer=1, datatype=10))  # PinRec
contra_directional_coupl.add(gdstk.FlexPath([(108.748,0.35),(108.768,0.35)], 0.5, ends="flush", simple_path=True, layer=1, datatype=10))  # PinRec
contra_directional_coupl.add(gdstk.Label('opt1', (-13.5,-2.15), layer=1, texttype=10))
contra_directional_coupl.add(gdstk.Label('opt2', (-13.5,0.35), layer=1, texttype=10))
contra_directional_coupl.add(gdstk.Label('opt3', (108.758,-2.15), layer=1, texttype=10))
contra_directional_coupl.add(gdstk.Label('opt4', (108.758,0.35), layer=1, texttype=10))
contra_directional_coupl.add(gdstk.Label('Lumerical_INTERCONNECT_library=Design kits/EBeam', (0,0), layer=68, texttype=0))
contra_directional_coupl.add(gdstk.Label('Component=contra_directional_coupler', (0,0.1), layer=68, texttype=0))

lib.write_gds('contra_directional_coupler_7.gds')
